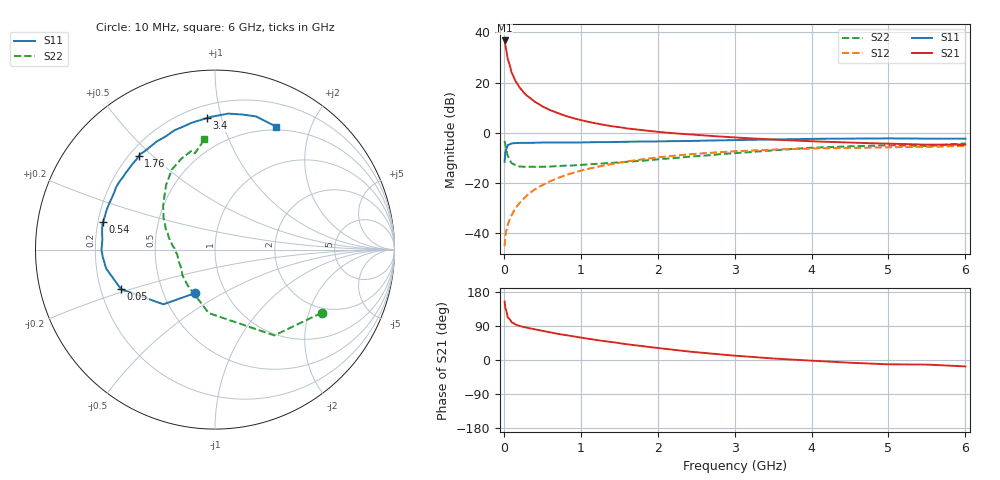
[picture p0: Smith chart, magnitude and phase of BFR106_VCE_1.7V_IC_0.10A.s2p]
! Infineon Technologies  Discrete & RF Semiconductors
! BFR106
! VCE =  1.7 V,  IC = 0.10 A
! Common Emitter S-Parameters:  Nov 2015
# GHz  S  MA  R  50
!  f  S11  S21  S12  S22
! GHz  MAG  ANG  MAG  ANG  MAG  ANG  MAG  ANG
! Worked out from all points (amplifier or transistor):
!   210 points, 10 MHz to 6 GHz, reference 50 ohm
!   highest |S21| = 36.7 dB at 10 MHz (marker M1)
!   |S21| within 3 dB of that: start of sweep to 27.03 MHz
!   unconditionally stable (mu >= 1): 98.42 MHz to end of sweep
!   at 185 MHz: K = 1.12, MAG = 21.7 dB, |S12| = -28.6 dB
!   at 1.52 GHz: K = 1.12, MAG = 4.9 dB, |S12| = -11.8 dB
!   at 6 GHz: K = 1.03, MAG = -0.8 dB, |S12| = -5.2 dB
!   S11 on the Smith chart (normalised r, x): 10 MHz: 0.72, -0.38; 50 MHz: 0.29, -0.19; 540 MHz: 0.22, +0.12; 1.76 GHz: 0.24, +0.45; 3.4 GHz: 0.28, +0.90; 6 GHz: 0.46, +1.52
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0.01  0.2653 -114.3  68.5 154.4  0.0056 69.9  0.6912 -30.6
0.02  0.4189 -133.3  55 136.5  0.009 61.1  0.5814 -55.3
0.05  0.5682 -157.2  29.61 112.4  0.0148 57.9  0.3557 -95.5
0.1  0.6155 -170.1  15.86 99.6  0.0229 63.4  0.2519 -126.8
0.15  0.6269 -176.4  10.76 93.8  0.0312 68.1  0.2307 -142.0
0.2  0.6324 -179.8  8.16 90.0  0.0396 70.7  0.2152 -150.3
0.24  0.6309 178.0  6.847 87.8  0.0462 71.8  0.2124 -156.0
0.26  0.6305 177.0  6.311 86.7  0.0497 72.2  0.212 -158.1
0.3  0.63 175.2  5.475 84.9  0.0568 73.0  0.2122 -160.9
0.4  0.637 171.1  4.165 80.8  0.0746 73.0  0.2113 -167.0
0.5  0.6429 167.5  3.359 76.8  0.0913 72.6  0.2116 -171.3
0.54  0.6418 166.1  3.145 75.4  0.0983 72.0  0.2125 -172.3
0.7  0.6426 160.6  2.461 69.0  0.126 70.2  0.2189 -176.3
1.02  0.6459 150.2  1.761 58.6  0.1799 65.0  0.2311 176.5
1.3  0.6523 142.1  1.438 49.9  0.2246 60.0  0.2463 170.7
1.76  0.672 129.2  1.152 37.7  0.292 51.7  0.2761 161.8
2.02  0.6761 122.8  1.042 31.3  0.3271 46.9  0.2997 156.8
3.1  0.7211 98.8  0.794 10.0  0.4369 28.0  0.4046 134.4
3.4  0.7337 93.7  0.749 5.6  0.4587 23.3  0.4389 128.8
4.1  0.7619 83.3  0.671 -2.8  0.4926 13.0  0.5125 116.6
5.1  0.7739 71.8  0.604 -11.5  0.5175 1.6  0.5628 102.9
6  0.7661 63.5  0.586 -16.9  0.5502 -7.1  0.6172 95.5
